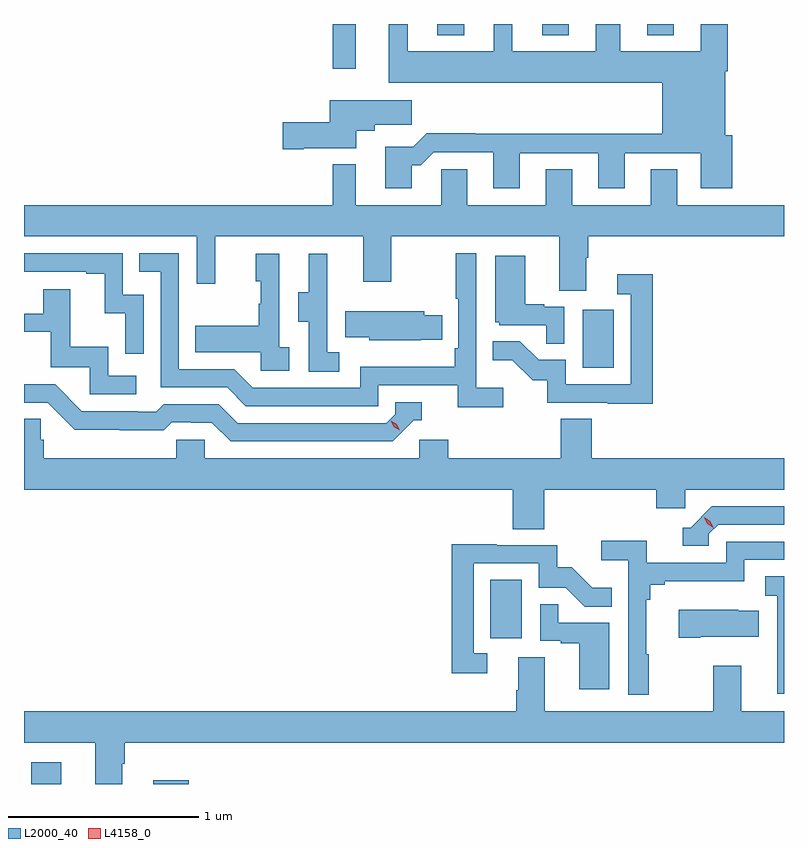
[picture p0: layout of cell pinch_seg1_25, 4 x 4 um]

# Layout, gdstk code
import gdstk
lib = gdstk.Library(unit=1e-6, precision=1e-09)
def R(c, l, rs):  # rectangles x0, y0, x1, y1
    for r in rs: c.add(gdstk.rectangle(r[:2], r[2:], *l))
def A(c, l, x, y, w, h, nx, ny, dx, dy):  # array of equal rectangles
    R(c, l, [(x+i*dx, y+j*dy, x+i*dx+w, y+j*dy+h) for i in range(nx) for j in range(ny)])
def P(c, l, *ps):  # polygons
    for p in ps: c.add(gdstk.Polygon(p, *l))
L2000_40 = (2000, 40)
L4158_0 = (4158, 0)

pinch_seg1_25 = lib.new_cell('pinch_seg1_25')
A(pinch_seg1_25, L2000_40, 1119.641, 578.099, 0.14, 0.059, 3, 1, 0.552, 0)
R(pinch_seg1_25, L2000_40, [(1117.502,574.158,1117.66,574.273), (1118.145,574.158,1118.333,574.177), (1119.92,574.926,1120.084,575.233), (1120.406,576.348,1120.57,576.655), (1119.09,577.923,1119.211,578.158)])
P(pinch_seg1_25, L2000_40, [(1119.505,577.415),(1119.554,577.415),(1119.621,577.482),(1119.935,577.482),(1119.935,577.293),(1120.075,577.293),(1120.075,577.479),(1120.487,577.479),(1120.487,577.293),(1120.627,577.293),(1120.627,577.479),(1121.027,577.479),(1121.027,577.293),(1121.192,577.293),(1121.192,577.572),(1121.155,577.572),(1121.155,577.91),(1121.168,577.91),(1121.168,578.158),(1121.027,578.158),(1121.027,578.014),(1120.603,578.014),(1120.603,578.158),(1120.475,578.158),(1120.475,578.014),(1120.036,578.014),(1120.036,578.158),(1119.938,578.158),(1119.938,578.014),(1119.484,578.014),(1119.484,578.158),(1119.386,578.158),(1119.386,577.85),(1120.823,577.85),(1120.823,577.58),(1119.839,577.58),(1119.839,577.583),(1119.584,577.583),(1119.514,577.513),(1119.365,577.513),(1119.365,577.293),(1119.505,577.293)],
  [(1118.938,577.505),(1119.214,577.505),(1119.214,577.595),(1119.31,577.595),(1119.31,577.627),(1119.505,577.627),(1119.505,577.756),(1119.074,577.756),(1119.074,577.64),(1118.826,577.64),(1118.826,577.498),(1118.938,577.498)],
  [(1120.423,576.928),(1120.436,576.928),(1120.436,577.04),(1121.465,577.04),(1121.465,577.204),(1120.903,577.204),(1120.903,577.394),(1120.763,577.394),(1120.763,577.204),(1120.351,577.204),(1120.351,577.394),(1120.211,577.394),(1120.211,577.204),(1119.799,577.204),(1119.799,577.394),(1119.66,577.394),(1119.66,577.204),(1119.211,577.204),(1119.211,577.42),(1119.09,577.42),(1119.09,577.204),(1117.465,577.204),(1117.465,577.04),(1118.373,577.04),(1118.373,576.792),(1118.471,576.792),(1118.471,577.04),(1119.251,577.04),(1119.251,576.801),(1119.399,576.801),(1119.399,577.04),(1120.283,577.04),(1120.283,576.754),(1120.423,576.754)],
  [(1119.988,576.244),(1119.846,576.244),(1119.846,576.952),(1119.738,576.952),(1119.738,576.712),(1119.75,576.712),(1119.75,576.451),(1119.733,576.451),(1119.733,576.355),(1119.234,576.355),(1119.234,576.243),(1118.67,576.243),(1118.571,576.342),(1118.28,576.342),(1118.28,576.951),(1118.071,576.951),(1118.071,576.855),(1118.184,576.855),(1118.184,576.246),(1118.534,576.246),(1118.633,576.147),(1119.33,576.147),(1119.33,576.258),(1119.749,576.258),(1119.749,576.142),(1119.988,576.142)],
  [(1118.094,576.732),(1117.986,576.732),(1117.986,576.951),(1117.465,576.951),(1117.465,576.855),(1117.793,576.855),(1117.793,576.843),(1117.889,576.843),(1117.889,576.635),(1117.998,576.635),(1117.998,576.423),(1118.094,576.423)],
  [(1118.86,576.458),(1118.808,576.458),(1118.808,576.949),(1118.684,576.949),(1118.684,576.804),(1118.71,576.804),(1118.71,576.686),(1118.7,576.686),(1118.7,576.571),(1118.365,576.571),(1118.365,576.431),(1118.712,576.431),(1118.712,576.333),(1118.86,576.333)],
  [(1119.124,576.431),(1119.06,576.431),(1119.06,576.735),(1119.062,576.735),(1119.062,576.949),(1118.963,576.949),(1118.963,576.747),(1118.909,576.747),(1118.909,576.592),(1118.964,576.592),(1118.964,576.328),(1119.124,576.328)],
  [(1120.308,576.669),(1120.202,576.669),(1120.202,576.682),(1120.102,576.682),(1120.102,576.937),(1119.944,576.937),(1119.944,576.588),(1119.966,576.588),(1119.966,576.573),(1120.213,576.573),(1120.213,576.475),(1120.308,576.475)],
  [(1120.775,576.841),(1120.587,576.841),(1120.587,576.735),(1120.659,576.735),(1120.659,576.261),(1120.317,576.261),(1120.317,576.39),(1120.173,576.39),(1120.075,576.488),(1119.931,576.488),(1119.931,576.389),(1120.035,576.389),(1120.142,576.282),(1120.219,576.282),(1120.219,576.165),(1120.537,576.165),(1120.537,576.16),(1120.775,576.16)],
  [(1118.056,576.306),(1117.908,576.306),(1117.908,576.46),(1117.709,576.46),(1117.709,576.763),(1117.565,576.763),(1117.565,576.633),(1117.465,576.633),(1117.465,576.537),(1117.607,576.537),(1117.607,576.351),(1117.812,576.351),(1117.812,576.21),(1118.056,576.21)],
  [(1119.554,576.495),(1119.665,576.495),(1119.665,576.624),(1119.571,576.624),(1119.571,576.646),(1119.157,576.646),(1119.157,576.509),(1119.282,576.509),(1119.282,576.494),(1119.554,576.494)],
  [(1119.516,576.072),(1119.559,576.072),(1119.559,576.168),(1119.42,576.168),(1119.42,576.105),(1119.372,576.057),(1118.589,576.057),(1118.49,576.156),(1118.201,576.156),(1118.162,576.117),(1118.063,576.117),(1118.063,576.12),(1117.77,576.12),(1117.629,576.261),(1117.465,576.261),(1117.465,576.165),(1117.59,576.165),(1117.732,576.023),(1117.968,576.023),(1117.968,576.021),(1118.201,576.021),(1118.243,576.063),(1118.346,576.063),(1118.346,576.06),(1118.453,576.06),(1118.552,575.961),(1119.405,575.961)],
  [(1119.546,575.97),(1119.546,575.872),(1118.415,575.872),(1118.415,575.97),(1118.265,575.97),(1118.265,575.872),(1117.568,575.872),(1117.568,575.97),(1117.553,575.97),(1117.553,576.08),(1117.465,576.08),(1117.465,575.708),(1120.037,575.708),(1120.037,575.5),(1120.202,575.5),(1120.202,575.708),(1120.793,575.708),(1120.793,575.61),(1120.944,575.61),(1120.944,575.708),(1121.465,575.708),(1121.465,575.872),(1120.454,575.872),(1120.454,576.08),(1120.289,576.08),(1120.289,575.872),(1119.698,575.872),(1119.698,575.97)],
  [(1121.07,575.475),(1121.118,575.523),(1121.465,575.523),(1121.465,575.619),(1121.085,575.619),(1120.974,575.508),(1120.931,575.508),(1120.931,575.412),(1121.07,575.412)],
  [(1120.753,574.841),(1120.741,574.841),(1120.741,575.129),(1120.76,575.129),(1120.76,575.206),(1120.837,575.206),(1120.837,575.225),(1121.256,575.225),(1121.256,575.337),(1121.465,575.337),(1121.465,575.433),(1121.16,575.433),(1121.16,575.322),(1120.742,575.322),(1120.742,575.438),(1120.503,575.438),(1120.503,575.336),(1120.644,575.336),(1120.644,574.629),(1120.753,574.629)],
  [(1119.904,574.845),(1119.831,574.845),(1119.831,575.319),(1120.173,575.319),(1120.173,575.19),(1120.317,575.19),(1120.415,575.092),(1120.559,575.092),(1120.559,575.191),(1120.455,575.191),(1120.348,575.298),(1120.272,575.298),(1120.272,575.415),(1119.953,575.415),(1119.953,575.42),(1119.715,575.42),(1119.715,574.74),(1119.904,574.74)],
  [(1121.465,575.252),(1121.367,575.252),(1121.367,575.149),(1121.43,575.149),(1121.43,574.845),(1121.429,574.845),(1121.429,574.632),(1121.465,574.632)],
  [(1120.546,575.007),(1120.277,575.007),(1120.277,575.105),(1120.182,575.105),(1120.182,574.911),(1120.289,574.911),(1120.289,574.899),(1120.388,574.899),(1120.388,574.656),(1120.546,574.656)],
  [(1121.023,574.934),(1121.333,574.934),(1121.333,575.071),(1121.225,575.071),(1121.225,575.074),(1120.911,575.074),(1120.911,574.927),(1121.023,574.927)],
  [(1117.981,574.264),(1117.994,574.264),(1117.994,574.376),(1121.465,574.376),(1121.465,574.54),(1121.239,574.54),(1121.239,574.78),(1121.092,574.78),(1121.092,574.54),(1120.207,574.54),(1120.207,574.826),(1120.067,574.826),(1120.067,574.652),(1120.055,574.652),(1120.055,574.54),(1117.465,574.54),(1117.465,574.376),(1117.841,574.376),(1117.841,574.158),(1117.981,574.158)])
P(pinch_seg1_25, L4158_0, [(1121.093,575.508),(1121.062,575.528),(1121.046,575.56),(1121.046,575.561),(1121.046,575.561),(1121.077,575.541),(1121.093,575.509),(1121.093,575.508)],
  [(1119.443,576.019),(1119.412,576.038),(1119.396,576.071),(1119.396,576.071),(1119.396,576.071),(1119.427,576.052),(1119.443,576.019),(1119.443,576.019)])

lib.write_gds('pinch_seg1_25.gds')
